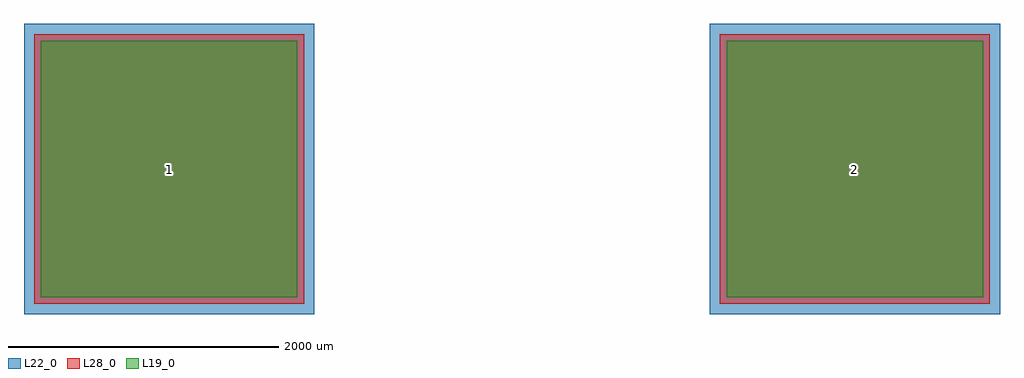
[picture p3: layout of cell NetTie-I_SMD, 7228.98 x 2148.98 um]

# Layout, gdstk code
import gdstk
lib = gdstk.Library(unit=1e-6, precision=1e-09)
def R(c, l, rs):  # rectangles x0, y0, x1, y1
    for r in rs: c.add(gdstk.rectangle(r[:2], r[2:], *l))
L19_0 = (19, 0)
L22_0 = (22, 0)
L28_0 = (28, 0)

nettie_i_smd = lib.new_cell('NetTie-I_SMD')
R(nettie_i_smd, L19_0, [(-3489.49,-949.49,-1590.51,949.49), (1590.51,-949.49,3489.49,949.49)])
R(nettie_i_smd, L22_0, [(-3614.49,-1074.49,-1465.51,1074.49), (1465.51,-1074.49,3614.49,1074.49)])
R(nettie_i_smd, L28_0, [(-3539.49,-999.49,-1540.51,999.49), (1540.51,-999.49,3539.49,999.49)])
nettie_i_smd.add(gdstk.Label('2', (2540,0), layer=28, texttype=0))
nettie_i_smd.add(gdstk.Label('1', (-2540,0), layer=28, texttype=0))
nettie_i_smd.add(gdstk.Label('type', (0,3048), layer=9, texttype=0))
nettie_i_smd.add(gdstk.Label('devicename', (-40.64,-4069.08), layer=9, texttype=0))

lib.write_gds('NetTie-I_SMD.gds')
